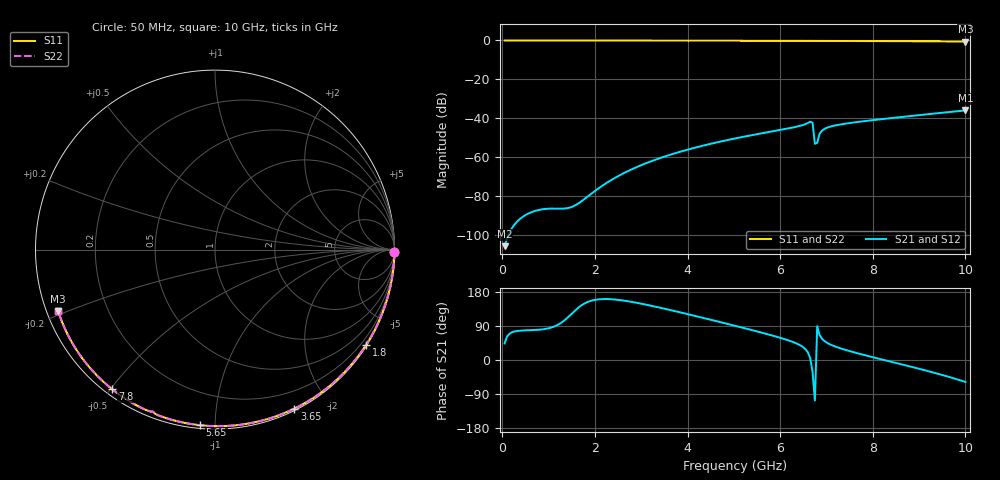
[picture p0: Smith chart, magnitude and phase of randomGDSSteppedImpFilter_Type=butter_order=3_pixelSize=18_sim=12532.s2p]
! freq	dB(S11)	phase(S11)	dB(S12)	phase(S12)
!  dB(S21)	phase(S21)	dB(S22)	phase(S22)
!S-par simulation data
#  GHz  S  DB  R 50
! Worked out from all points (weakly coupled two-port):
!   200 points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, 50 MHz to 10 GHz, reference 50 ohm
!   highest |S21| = -35.93 dB at 10 GHz (marker M1); lowest = -105.5 dB at 50 MHz (marker M2)
!   lowest |S11| = -0.5 dB at 10 GHz (marker M3), VSWR 31.60, Z = 1.64 - j9.51 ohm
!   |S11| at or under -10 dB: nowhere
!   |S22| runs from -0.5 to 0.0 dB; largest |S21 - S12| = 0
!   S11 on the Smith chart (normalised r, x): 50 MHz: open; 1.8 GHz: 0.03, -3.47; 3.65 GHz: 0.02, -1.62; 5.65 GHz: 0.02, -0.92; 7.8 GHz: 0.02, -0.51; 10 GHz: 0.03, -0.19
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0.05  -0.00 -0.9  -105.52 43.7  -105.52 43.7  -0.00 -0.9
0.85  -0.02 -15.4  -86.67 80.5  -86.67 80.5  -0.02 -15.4
1.75  -0.04 -31.3  -81.77 147.4  -81.77 147.4  -0.04 -31.3
1.8  -0.04 -32.1  -80.86 150.7  -80.86 150.7  -0.04 -32.2
1.85  -0.04 -33.0  -79.93 153.4  -79.93 153.4  -0.04 -33.0
2.2  -0.05 -39.1  -73.88 160.9  -73.88 160.9  -0.05 -39.1
2.6  -0.06 -45.9  -68.35 157.1  -68.35 157.1  -0.06 -46.0
3.4  -0.08 -59.4  -60.38 138.2  -60.38 138.2  -0.08 -59.4
3.65  -0.09 -63.5  -58.44 131.2  -58.44 131.2  -0.09 -63.5
5.05  -0.13 -85.7  -50.15 89.6  -50.15 89.6  -0.13 -85.7
5.65  -0.16 -94.9  -47.42 70.6  -47.42 70.6  -0.16 -94.9
6.4  -0.20 -106.1  -43.99 41.0  -43.99 41.0  -0.20 -106.1
6.65  -0.23 -110.0  -41.69 4.4  -41.69 4.4  -0.23 -110.0
6.7  -0.28 -110.7  -42.20 -31.8  -42.20 -31.8  -0.28 -110.8
6.75  -0.29 -111.0  -53.05 -106.9  -53.05 -106.9  -0.29 -111.0
6.8  -0.25 -111.7  -52.51 89.1  -52.51 89.1  -0.26 -111.7
6.85  -0.24 -112.4  -47.99 66.3  -47.99 66.3  -0.24 -112.5
6.9  -0.24 -113.2  -46.35 56.6  -46.35 56.6  -0.24 -113.2
7  -0.24 -114.7  -44.87 46.3  -44.87 46.3  -0.24 -114.7
7.8  -0.30 -126.3  -41.44 13.6  -41.44 13.6  -0.30 -126.4
8.35  -0.35 -134.2  -39.96 -3.3  -39.96 -3.3  -0.35 -134.3
10  -0.55 -158.4  -35.93 -58.0  -35.93 -58.0  -0.55 -158.5
